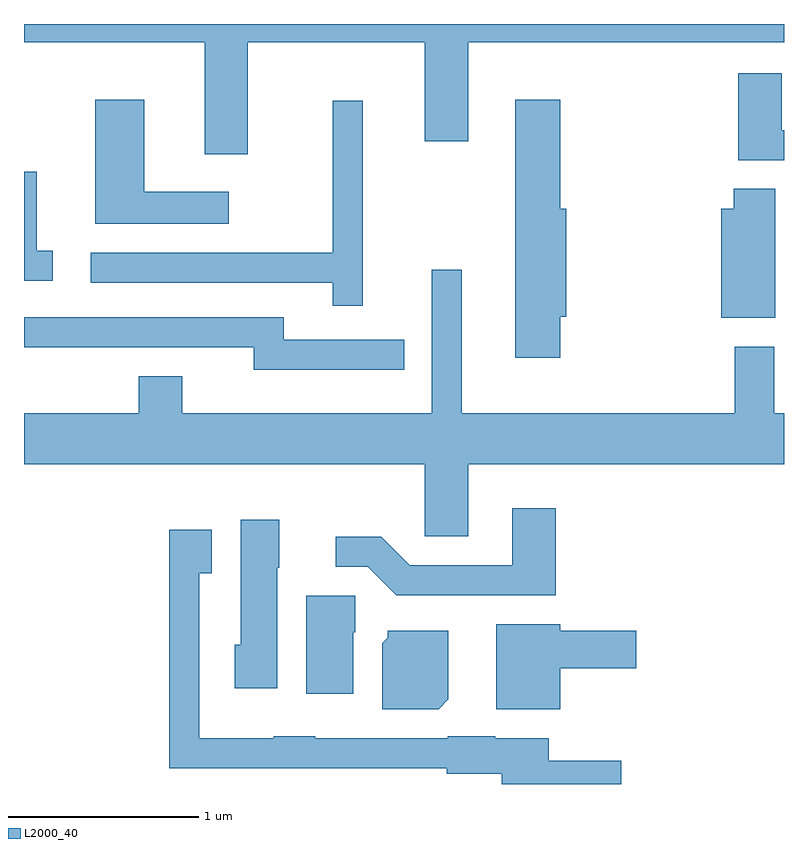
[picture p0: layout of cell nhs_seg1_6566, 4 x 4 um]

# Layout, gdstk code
import gdstk
lib = gdstk.Library(unit=1e-6, precision=1e-09)
def P(c, l, *ps):  # polygons
    for p in ps: c.add(gdstk.Polygon(p, *l))
L2000_40 = (2000, 40)

nhs_seg1_6566 = lib.new_cell('nhs_seg1_6566')
P(nhs_seg1_6566, L2000_40, [(384.789,859.616),(385.721,859.616),(385.721,859.096),(385.949,859.096),(385.949,859.616),(387.611,859.616),(387.611,859.712),(383.611,859.712),(383.611,859.616),(384.561,859.616),(384.561,859.026),(384.789,859.026)],
  [(387.611,859.154),(387.599,859.154),(387.599,859.454),(387.371,859.454),(387.371,858.996),(387.611,858.996)],
  [(384.688,858.829),(384.244,858.829),(384.244,859.314),(383.986,859.314),(383.986,858.661),(384.688,858.661)],
  [(386.434,858.171),(386.464,858.171),(386.464,858.739),(386.434,858.739),(386.434,859.314),(386.196,859.314),(386.196,857.956),(386.434,857.956)],
  [(385.394,859.308),(385.236,859.308),(385.236,858.509),(383.963,858.509),(383.963,858.351),(385.236,858.351),(385.236,858.228),(385.394,858.228)],
  [(383.763,858.519),(383.679,858.519),(383.679,858.934),(383.611,858.934),(383.611,858.361),(383.763,858.361)],
  [(387.564,858.844),(387.346,858.844),(387.346,858.739),(387.281,858.739),(387.281,858.166),(387.564,858.166)],
  [(385.949,857.396),(387.611,857.396),(387.611,857.664),(387.559,857.664),(387.559,858.014),(387.351,858.014),(387.351,857.664),(385.914,857.664),(385.914,858.418),(385.756,858.418),(385.756,857.664),(384.444,857.664),(384.444,857.859),(384.216,857.859),(384.216,857.664),(383.611,857.664),(383.611,857.396),(385.721,857.396),(385.721,857.016),(385.949,857.016)],
  [(385.613,858.049),(384.979,858.049),(384.979,858.169),(383.611,858.169),(383.611,858.011),(384.821,858.011),(384.821,857.891),(385.613,857.891)],
  [(386.409,857.164),(386.181,857.164),(386.181,856.864),(385.642,856.864),(385.492,857.014),(385.253,857.014),(385.253,856.856),(385.419,856.856),(385.569,856.706),(386.409,856.706)],
  [(384.944,856.85),(384.954,856.85),(384.954,857.104),(384.751,857.104),(384.751,856.444),(384.721,856.444),(384.721,856.216),(384.944,856.216)],
  [(386.754,855.834),(386.374,855.834),(386.374,855.954),(386.09,855.954),(386.09,855.964),(385.84,855.964),(385.84,855.954),(385.145,855.954),(385.145,855.964),(384.925,855.964),(384.925,855.954),(384.534,855.954),(384.534,856.821),(384.599,856.821),(384.599,857.049),(384.376,857.049),(384.376,855.796),(385.836,855.796),(385.836,855.766),(386.126,855.766),(386.126,855.712),(386.754,855.712)],
  [(385.344,856.51),(385.354,856.51),(385.354,856.704),(385.096,856.704),(385.096,856.186),(385.344,856.186)],
  [(386.434,856.321),(386.834,856.321),(386.834,856.519),(386.434,856.519),(386.434,856.554),(386.096,856.554),(386.096,856.106),(386.434,856.106)],
  [(385.844,856.157),(385.844,856.519),(385.526,856.519),(385.526,856.482),(385.496,856.452),(385.496,856.106),(385.794,856.106)])

lib.write_gds('nhs_seg1_6566.gds')
